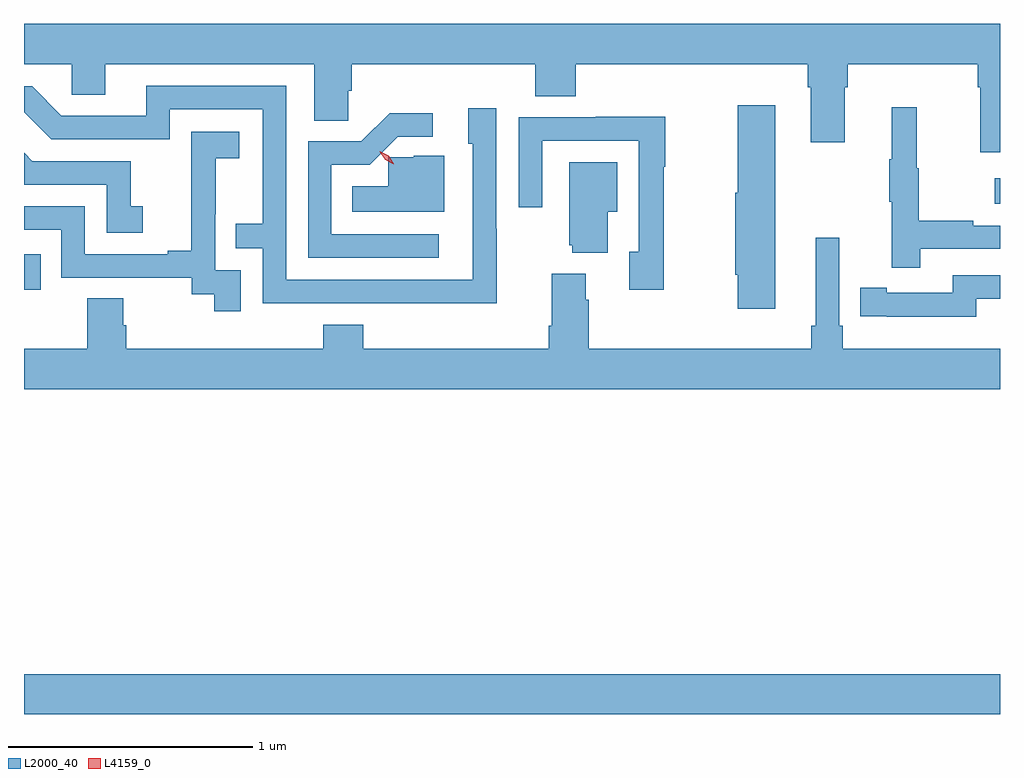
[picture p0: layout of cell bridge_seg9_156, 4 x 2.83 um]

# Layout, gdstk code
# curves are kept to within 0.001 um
import gdstk
lib = gdstk.Library(unit=1e-6, precision=1e-09)
def R(c, l, rs):  # rectangles x0, y0, x1, y1
    for r in rs: c.add(gdstk.rectangle(r[:2], r[2:], *l))
def P(c, l, *ps):  # polygons
    for p in ps: c.add(gdstk.Polygon(p, *l))
L2000_40 = (2000, 40)
L4159_0 = (4159, 0)

bridge_seg9_156 = lib.new_cell('bridge_seg9_156')
R(bridge_seg9_156, L2000_40, [(587.781,1189.76,591.781,1189.924), (587.781,1191.498,587.849,1191.645), (591.759,1191.851,591.781,1191.955)])
P(bridge_seg9_156, L2000_40, [(591.781,1192.588),(587.781,1192.588),(587.781,1192.424),(587.976,1192.424),(587.976,1192.297),(588.115,1192.297),(588.115,1192.424),(588.971,1192.424),(588.971,1192.192),(589.11,1192.192),(589.11,1192.315),(589.124,1192.315),(589.124,1192.424),(589.877,1192.424),(589.877,1192.291),(590.042,1192.291),(590.042,1192.424),(590.993,1192.424),(590.993,1192.328),(591.005,1192.328),(591.005,1192.104),(591.145,1192.104),(591.145,1192.328),(591.158,1192.328),(591.158,1192.424),(591.689,1192.424),(591.689,1192.328),(591.701,1192.328),(591.701,1192.062),(591.781,1192.062)],
  [(589.719,1191.749),(589.716,1191.749),(589.716,1192.243),(589.601,1192.243),(589.601,1192.098),(589.62,1192.098),(589.62,1191.54),(588.855,1191.54),(588.855,1192.335),(588.281,1192.335),(588.281,1192.212),(587.934,1192.212),(587.814,1192.332),(587.781,1192.332),(587.781,1192.227),(587.892,1192.116),(588.378,1192.116),(588.378,1192.239),(588.759,1192.239),(588.759,1191.77),(588.649,1191.77),(588.649,1191.669),(588.759,1191.669),(588.759,1191.444),(589.719,1191.443)],
  [(590.86,1192.255),(590.707,1192.255),(590.707,1191.897),(590.696,1191.897),(590.696,1191.561),(590.707,1191.561),(590.707,1191.42),(590.86,1191.42)],
  [(591.455,1191.666),(591.781,1191.666),(591.781,1191.762),(591.671,1191.762),(591.671,1191.782),(591.448,1191.782),(591.448,1191.996),(591.44,1191.996),(591.44,1192.246),(591.338,1192.246),(591.338,1192.033),(591.327,1192.033),(591.327,1191.859),(591.338,1191.859),(591.338,1191.588),(591.455,1191.588)],
  [(589.48,1191.726),(589.041,1191.726),(589.041,1192.011),(589.198,1192.011),(589.312,1192.125),(589.456,1192.125),(589.456,1192.222),(589.279,1192.222),(589.164,1192.107),(588.945,1192.107),(588.945,1191.63),(589.48,1191.63)],
  [(590.402,1192.003),(590.41,1192.003),(590.41,1192.208),(590.125,1192.208),(590.125,1192.206),(589.809,1192.206),(589.809,1191.837),(589.905,1191.837),(589.905,1192.11),(590.301,1192.11),(590.301,1191.654),(590.261,1191.654),(590.261,1191.498),(590.402,1191.498)],
  [(588.669,1191.579),(588.564,1191.579),(588.564,1191.809),(588.566,1191.809),(588.566,1192.037),(588.664,1192.037),(588.664,1192.147),(588.466,1192.147),(588.466,1191.941),(588.467,1191.941),(588.467,1191.658),(588.371,1191.658),(588.371,1191.645),(588.03,1191.645),(588.03,1191.84),(587.781,1191.84),(587.781,1191.744),(587.934,1191.744),(587.934,1191.549),(588.468,1191.549),(588.468,1191.481),(588.561,1191.481),(588.561,1191.411),(588.669,1191.411)],
  [(588.268,1191.841),(588.219,1191.841),(588.219,1192.026),(587.815,1192.026),(587.781,1192.06),(587.781,1191.93),(588.12,1191.93),(588.12,1191.732),(588.268,1191.732)],
  [(589.504,1192.049),(589.378,1192.049),(589.378,1192.042),(589.273,1192.042),(589.273,1191.922),(589.126,1191.922),(589.126,1191.818),(589.504,1191.818)],
  [(590.173,1191.818),(590.212,1191.818),(590.212,1192.021),(590.015,1192.021),(590.015,1191.681),(590.027,1191.681),(590.027,1191.65),(590.173,1191.65)],
  [(591.684,1191.462),(591.781,1191.462),(591.781,1191.558),(591.588,1191.558),(591.588,1191.486),(591.316,1191.486),(591.316,1191.506),(591.208,1191.506),(591.208,1191.39),(591.316,1191.39),(591.316,1191.389),(591.684,1191.389)],
  [(591.026,1191.712),(591.026,1191.352),(591.007,1191.352),(591.007,1191.256),(590.096,1191.256),(590.096,1191.458),(590.083,1191.458),(590.083,1191.565),(589.943,1191.565),(589.943,1191.352),(589.931,1191.352),(589.931,1191.256),(589.172,1191.256),(589.172,1191.355),(589.007,1191.355),(589.007,1191.256),(588.2,1191.256),(588.2,1191.354),(588.187,1191.354),(588.187,1191.464),(588.04,1191.464),(588.04,1191.256),(587.781,1191.256),(587.781,1191.092),(591.781,1191.092),(591.781,1191.256),(591.137,1191.256),(591.137,1191.352),(591.123,1191.352),(591.123,1191.712)])
P(bridge_seg9_156, L4159_0, [(589.296,1192.014),(589.261,1192.032),(589.24,1192.065),(589.24,1192.066),(589.24,1192.066),(589.275,1192.047),(589.296,1192.015),(589.296,1192.014)])

lib.write_gds('bridge_seg9_156.gds')
